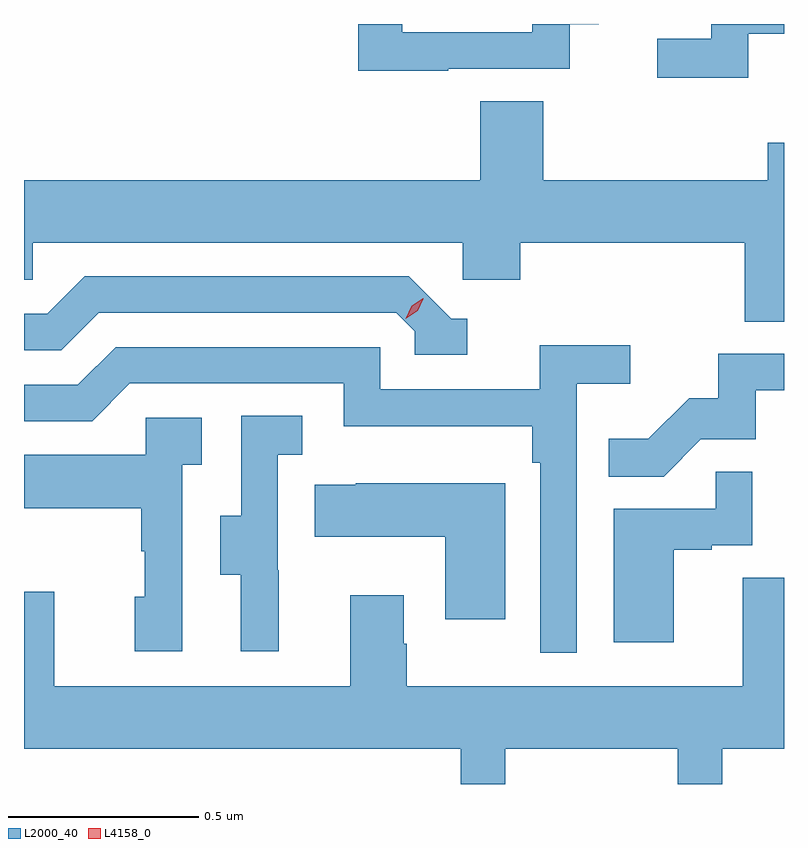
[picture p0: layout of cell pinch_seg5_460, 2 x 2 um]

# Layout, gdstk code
import gdstk
lib = gdstk.Library(unit=1e-6, precision=1e-09)
def P(c, l, *ps):  # polygons
    for p in ps: c.add(gdstk.Polygon(p, *l))
L2000_40 = (2000, 40)
L4158_0 = (4158, 0)

pinch_seg5_460 = lib.new_cell('pinch_seg5_460')
P(pinch_seg5_460, L2000_40, [(926.048,861.306),(926.142,861.306),(926.142,861.331),(925.95,861.331),(925.95,861.292),(925.809,861.292),(925.809,861.19),(926.048,861.19)],
  [(925.259,861.213),(925.578,861.213),(925.578,861.33),(925.654,861.33),(925.655,861.331),(925.479,861.331),(925.479,861.309),(925.137,861.309),(925.137,861.331),(925.021,861.331),(925.021,861.208),(925.259,861.208)],
  [(926.142,861.018),(926.099,861.018),(926.099,860.92),(925.508,860.92),(925.508,861.128),(925.343,861.128),(925.343,860.92),(924.142,860.92),(924.142,860.658),(924.165,860.658),(924.165,860.756),(925.296,860.756),(925.296,860.658),(925.448,860.658),(925.448,860.756),(926.039,860.756),(926.039,860.548),(926.142,860.548)],
  [(925.309,860.556),(925.266,860.556),(925.155,860.667),(924.302,860.667),(924.203,860.568),(924.142,860.568),(924.142,860.472),(924.24,860.472),(924.339,860.571),(925.122,860.571),(925.17,860.523),(925.17,860.46),(925.309,860.46)],
  [(925.596,860.384),(925.738,860.384),(925.738,860.486),(925.499,860.486),(925.499,860.37),(925.08,860.37),(925.08,860.481),(924.383,860.481),(924.284,860.382),(924.142,860.382),(924.142,860.286),(924.321,860.286),(924.42,860.385),(924.984,860.385),(924.984,860.273),(925.48,860.273),(925.48,860.177),(925.5,860.177),(925.5,859.677),(925.596,859.677)],
  [(925.923,860.238),(926.067,860.238),(926.067,860.367),(926.142,860.367),(926.142,860.463),(925.969,860.463),(925.969,860.346),(925.892,860.346),(925.785,860.239),(925.681,860.239),(925.681,860.14),(925.825,860.14)],
  [(924.812,859.893),(924.81,859.893),(924.81,860.197),(924.874,860.197),(924.874,860.3),(924.714,860.3),(924.714,860.037),(924.659,860.037),(924.659,859.882),(924.713,859.882),(924.713,859.68),(924.812,859.68)],
  [(924.558,860.171),(924.61,860.171),(924.61,860.295),(924.462,860.295),(924.462,860.197),(924.142,860.197),(924.142,860.057),(924.45,860.057),(924.45,859.943),(924.46,859.943),(924.46,859.824),(924.434,859.824),(924.434,859.68),(924.558,859.68)],
  [(925.852,859.947),(925.952,859.947),(925.952,859.959),(926.058,859.959),(926.058,860.153),(925.963,860.153),(925.963,860.055),(925.694,860.055),(925.694,859.704),(925.852,859.704)],
  [(925.408,860.122),(925.015,860.122),(925.015,860.119),(924.907,860.119),(924.907,859.982),(925.25,859.982),(925.25,859.764),(925.408,859.764)],
  [(925.409,859.424),(925.862,859.424),(925.862,859.331),(925.979,859.331),(925.979,859.424),(926.142,859.424),(926.142,859.874),(926.033,859.874),(926.033,859.588),(925.149,859.588),(925.149,859.7),(925.141,859.7),(925.141,859.828),(925.001,859.828),(925.001,859.588),(924.221,859.588),(924.221,859.837),(924.142,859.837),(924.142,859.424),(925.291,859.424),(925.291,859.331),(925.409,859.331)])
P(pinch_seg5_460, L4158_0, [(925.147,860.556),(925.147,860.556),(925.163,860.589),(925.193,860.609),(925.193,860.609),(925.193,860.608),(925.178,860.576),(925.147,860.556)])

lib.write_gds('pinch_seg5_460.gds')
